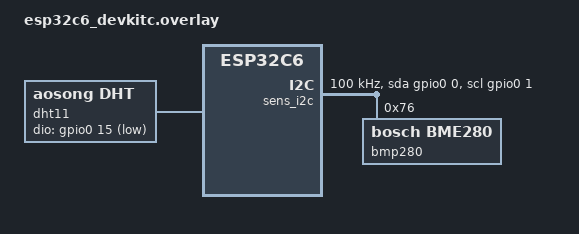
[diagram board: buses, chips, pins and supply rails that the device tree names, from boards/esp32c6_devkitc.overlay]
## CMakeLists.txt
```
# SPDX-License-Identifier: Apache-2.0

cmake_minimum_required(VERSION 3.20.0)

find_package(Zephyr REQUIRED HINTS $ENV{ZEPHYR_BASE})
project(seaas-zephyr-kernel-thread-sensor-read)

list(APPEND SYSCALL_INCLUDE_DIRS include)

target_sources(app PRIVATE src/main.c src/seaas-temperature.c)
target_include_directories(app PRIVATE include)
```

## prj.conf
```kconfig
# empty config
CONFIG_SENSOR=y
CONFIG_SENSOR_ASYNC_API=y
CONFIG_GPIO=y

CONFIG_REQUIRES_FULL_LIBC=y
CONFIG_REQUIRES_FLOAT_PRINTF=y
CONFIG_CBPRINTF_FP_SUPPORT=y

CONFIG_USERSPACE=y

CONFIG_LOG=y

CONFIG_APPLICATION_DEFINED_SYSCALL=y
CONFIG_EMIT_ALL_SYSCALLS=y
```

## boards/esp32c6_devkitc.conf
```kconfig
CONFIG_RISCV_PMP=y
```

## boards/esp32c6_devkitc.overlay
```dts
/*
 * SPDX-License-Identifier: Apache-2.0
 */

/ {
	dht11 {
		compatible = "aosong,dht";
		status = "okay";
		dio-gpios = <&gpio0 15 (GPIO_PULL_UP | GPIO_ACTIVE_LOW)>;
	};

	sens_i2c: sensor-i2c {
		status = "okay";
		compatible = "gpio-i2c";
		clock-frequency = <100000>;
		sda-gpios = <&gpio0 0 GPIO_OPEN_DRAIN>;
		scl-gpios = <&gpio0 1 GPIO_OPEN_DRAIN>;
		#address-cells = <1>;
		#size-cells = <0>;
		bmp280@76 {
			compatible = "bosch,bme280";
			reg = <0x76>;
			status = "okay";
		};
	};
};
```

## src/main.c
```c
/*
 * Copyright (c) 2019 Nordic Semiconductor ASA
 *
 * SPDX-License-Identifier: Apache-2.0
 */

#include <zephyr/kernel.h>
#include <stdio.h>
#include <seaas-temperature.h>
#include <zephyr/syscalls/seaas-temperature-syscalls.h>

K_THREAD_STACK_DEFINE(dht_thread_stack_area, 1024);
struct k_thread dht_thread;
K_THREAD_STACK_DEFINE(bmp_thread_stack_area, 2048);
struct k_thread bmp_thread;
void seaas_sensor_read(void *_sensor_type, void *p2, void *p3)
{
	char *sensor_type = _sensor_type;
	int sfd = init_temperature_sensor(sensor_type);
	if (sfd < 0) {
		printf("[%s] Init failed\n", sensor_type);
		return;
	}

	while (true) {
		double temperature = (double)get_temperature(sfd) * .00001;
		printf("[%s]: Temp: %.5fC\n", sensor_type, temperature);
		k_sleep(K_MSEC(2000));
	}
}


int main(void)
{
	const struct device *const dht11 = DEVICE_DT_GET_ONE(aosong_dht);
	const struct device * bmp280 = DEVICE_DT_GET_ONE(bosch_bme280);

	if (sizeof(seaas_temperature_sensors) / sizeof(*seaas_temperature_sensors) < SEAAS_MAX_TEMPERATURE_SENSORS) {
		printf("Reserved space for sensors is too small\n");
		return -1;
	}

	seaas_temperature_sensors[SEAAS_SENSOR_TYPE_TEMPERATURE_DHT11] = dht11;
	seaas_temperature_sensors[SEAAS_SENSOR_TYPE_TEMPERATURE_BMP280] = bmp280;

	k_tid_t dht_thread_tid = k_thread_create(&dht_thread, dht_thread_stack_area,
					 K_THREAD_STACK_SIZEOF(dht_thread_stack_area),
					 seaas_sensor_read,
					 "dht11", NULL, NULL,
					 5, K_USER, K_SECONDS(2));
	k_tid_t bmp_thread_tid = k_thread_create(&bmp_thread, bmp_thread_stack_area,
					 K_THREAD_STACK_SIZEOF(bmp_thread_stack_area),
					 seaas_sensor_read,
					 "bmp280", NULL, NULL,
					 5, K_USER, K_NO_WAIT);
	k_thread_join(dht_thread_tid, K_FOREVER);
	k_thread_join(bmp_thread_tid, K_FOREVER);

	return 0;
}
```

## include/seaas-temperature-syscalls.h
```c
#ifndef _SEAAS_TEMPERATURE_SYSCALL_H
#define _SEAAS_TEMPERATURE_SYSCALL_H
#include <seaas-temperature.h>
__syscall int init_temperature_sensor_syscall(enum seaas_sensor_type_temperature type);
__syscall int32_t get_temperature(enum seaas_sensor_type_temperature type);
#endif /* _SEAAS_TEMPERATURE_SYSCALL_H */
```

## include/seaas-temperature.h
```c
#ifndef _SEAAS_TEMPERATURE_H
#define _SEAAS_TEMPERATURE_H

enum seaas_sensor_type_temperature {
        SEAAS_SENSOR_TYPE_TEMPERATURE_DHT11,
        SEAAS_SENSOR_TYPE_TEMPERATURE_BMP280,
        SEAAS_MAX_TEMPERATURE_SENSORS,
        SEAAS_SENSOR_TYPE_TEMPERATURE_ANY
};

int init_temperature_sensor(const char *sensor_type);
double get_temperature_dht11(void);
double get_temperature_bmp280(void);

extern struct device *seaas_temperature_sensors[SEAAS_MAX_TEMPERATURE_SENSORS];

#endif /* _SEAAS_TEMPERATURE_H */
```

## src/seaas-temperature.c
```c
#include <zephyr/kernel.h>
#include <zephyr/device.h>
#include <zephyr/devicetree.h>
#include <zephyr/drivers/sensor.h>
#include <zephyr/drivers/sensor_data_types.h>
#include <zephyr/rtio/rtio.h>
#include <zephyr/dsp/print_format.h>
#include <stdio.h>
#include <seaas-temperature-syscalls.h>

/* Dynamic allocation? */
struct device *seaas_temperature_sensors[SEAAS_MAX_TEMPERATURE_SENSORS];

/* Structs for the bme280 driver */
SENSOR_DT_READ_IODEV(iodev, DT_COMPAT_GET_ANY_STATUS_OKAY(bosch_bme280),
		{SENSOR_CHAN_AMBIENT_TEMP, 0},
		{SENSOR_CHAN_HUMIDITY, 0},
		{SENSOR_CHAN_PRESS, 0});
RTIO_DEFINE(ctx, 1, 1);

/* Initialize systemcall */
int z_impl_init_temperature_sensor_syscall(enum seaas_sensor_type_temperature type)
{
	struct device *sensor = NULL;
	if (type == SEAAS_SENSOR_TYPE_TEMPERATURE_ANY)
		type = SEAAS_SENSOR_TYPE_TEMPERATURE_BMP280;
	switch (type) {
		case SEAAS_SENSOR_TYPE_TEMPERATURE_BMP280:
			sensor = seaas_temperature_sensors[SEAAS_SENSOR_TYPE_TEMPERATURE_BMP280];
			break;
		case SEAAS_SENSOR_TYPE_TEMPERATURE_DHT11:
			sensor = seaas_temperature_sensors[SEAAS_SENSOR_TYPE_TEMPERATURE_DHT11];
			break;
		default:
			printf("Unknown type for temperature sensor");
			return -19;
	}
	if (!device_is_ready(sensor)) {
		printf("Device %s is not ready\n", sensor->name);
		return -1;
	}
	return type;
}

int z_vrfy_init_temperature_sensor_syscall(enum seaas_sensor_type_temperature type)
{
	return z_impl_init_temperature_sensor_syscall(type);
}
#include <syscalls/init_temperature_sensor_syscall_mrsh.c>

/* Wrapper */
int init_temperature_sensor(const char *sensor_type)
{

	enum seaas_sensor_type_temperature stype;
	if (sensor_type == NULL) {
		/* XXX Select the best, we need to select it using specific logic */
		stype = SEAAS_SENSOR_TYPE_TEMPERATURE_BMP280;
	} else if (!strcmp(sensor_type, "dht11")) {
		stype = SEAAS_SENSOR_TYPE_TEMPERATURE_DHT11;
	} else if (!strcmp(sensor_type, "bmp280")) {
		stype = SEAAS_SENSOR_TYPE_TEMPERATURE_BMP280;
	} else {
		/* Unknown sensor */
		return -19;
	}

	return init_temperature_sensor_syscall(stype);
}

double get_temperature_dht11(void)
{
	struct device *dht11 = seaas_temperature_sensors[SEAAS_SENSOR_TYPE_TEMPERATURE_DHT11];
	struct sensor_value temperature = {0};
	int rc = sensor_sample_fetch(dht11);
	if (rc != 0) {
		printf("[dht11] Sensor fetch failed: %d\n", rc);
		return -1;
	}

	rc = sensor_channel_get(dht11, SENSOR_CHAN_AMBIENT_TEMP,
				&temperature);
	if (rc != 0) {
		printf("get failed: %d\n", rc);
		return -1;
	}
	return sensor_value_to_double(&temperature);
}

double get_temperature_bmp280(void)
{

	uint8_t buf[128] = {0};
	const struct sensor_decoder_api *decoder;
	uint32_t temp_fit = 0;
	struct sensor_q31_data temp_data = {0};

	int rc = sensor_read(&iodev, &ctx, buf, 128);
	if (rc != 0) {
		printf("[BMP280] Sensor read failed: %d\n", rc);
		return -1;
	}

	rc = sensor_get_decoder(seaas_temperature_sensors[SEAAS_SENSOR_TYPE_TEMPERATURE_BMP280], &decoder);
	if (rc != 0) {
		printf("[BMP280] Sensor decode failed: %d\n", rc);
		return -1;
	}

	decoder->decode(buf,
			(struct sensor_chan_spec) {SENSOR_CHAN_AMBIENT_TEMP, 0},
			&temp_fit, 1, &temp_data);
	uint32_t integer = __PRIq_arg_get_int(temp_data.readings[0].temperature, temp_data.shift);
	uint32_t frac = __PRIq_arg_get_frac(temp_data.readings[0].temperature, 6, temp_data.shift);

	return (double) integer + (double)0.000001 * (double)frac;
}


int32_t z_impl_get_temperature(enum seaas_sensor_type_temperature type)
{
	double out = .0;
        switch (type) {
                case SEAAS_SENSOR_TYPE_TEMPERATURE_DHT11:
                        out = get_temperature_dht11();
			break;
                case SEAAS_SENSOR_TYPE_TEMPERATURE_BMP280:
                        out = get_temperature_bmp280();
			break;
                default:
                        printf("Unknown sensor type\n");
                        return (0x1 << 31);
        }
	/* Map to int32 to use standard registers for syscalls */
	return (int32_t) (out * 100000.0);
}

int32_t z_vrfy_get_temperature(enum seaas_sensor_type_temperature type)
{

	return z_impl_get_temperature(type);
}
#include <syscalls/get_temperature_mrsh.c>
```
